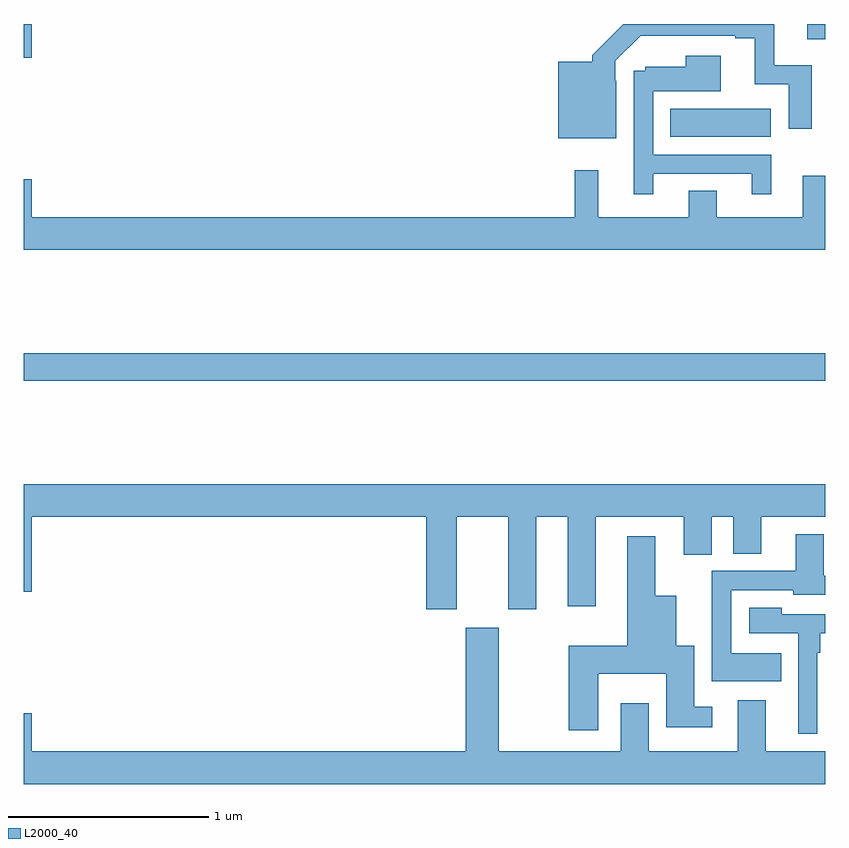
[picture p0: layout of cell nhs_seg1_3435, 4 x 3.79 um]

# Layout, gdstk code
import gdstk
lib = gdstk.Library(unit=1e-6, precision=1e-09)
def R(c, l, rs):  # rectangles x0, y0, x1, y1
    for r in rs: c.add(gdstk.rectangle(r[:2], r[2:], *l))
def P(c, l, *ps):  # polygons
    for p in ps: c.add(gdstk.Polygon(p, *l))
L2000_40 = (2000, 40)

nhs_seg1_3435 = lib.new_cell('nhs_seg1_3435')
R(nhs_seg1_3435, L2000_40, [(297,544.42,301,544.556), (300.226,545.636,300.727,545.776), (297,546.03,297.04,546.199), (300.908,546.123,301,546.199)])
P(nhs_seg1_3435, L2000_40, [(299.956,545.915),(299.952,545.915),(299.952,546.015),(300.078,546.141),(300.551,546.141),(300.551,546.129),(300.647,546.129),(300.647,545.898),(300.816,545.898),(300.816,545.676),(300.932,545.676),(300.932,545.994),(300.745,545.994),(300.745,546.199),(299.992,546.199),(299.837,546.043),(299.837,546.01),(299.666,546.01),(299.666,545.63),(299.956,545.63)],
  [(300.142,545.451),(300.632,545.451),(300.632,545.349),(300.73,545.349),(300.73,545.547),(300.141,545.547),(300.141,545.864),(300.478,545.864),(300.478,546.04),(300.302,546.04),(300.302,545.986),(300.102,545.986),(300.102,545.967),(300.045,545.967),(300.045,545.349),(300.142,545.349)],
  [(301,545.443),(300.887,545.443),(300.887,545.236),(300.457,545.236),(300.457,545.366),(300.317,545.366),(300.317,545.236),(299.867,545.236),(299.867,545.47),(299.749,545.47),(299.749,545.236),(297.04,545.236),(297.04,545.425),(297,545.425),(297,545.072),(301,545.072)],
  [(299.161,543.74),(299.417,543.74),(299.417,543.279),(299.557,543.279),(299.557,543.74),(299.714,543.74),(299.714,543.294),(299.854,543.294),(299.854,543.74),(300.293,543.74),(300.293,543.552),(300.432,543.552),(300.432,543.74),(300.539,543.74),(300.539,543.556),(300.679,543.556),(300.679,543.74),(301,543.74),(301,543.904),(297,543.904),(297,543.366),(297.04,543.366),(297.04,543.74),(299.009,543.74),(299.009,543.279),(299.161,543.279)],
  [(300.779,543.061),(300.531,543.061),(300.531,543.375),(300.84,543.375),(300.84,543.351),(301,543.351),(301,543.447),(300.991,543.447),(300.991,543.655),(300.851,543.655),(300.851,543.471),(300.434,543.471),(300.434,542.921),(300.779,542.921)],
  [(299.866,542.957),(300.206,542.957),(300.206,542.69),(300.436,542.69),(300.436,542.794),(300.346,542.794),(300.346,543.097),(300.256,543.097),(300.256,543.346),(300.151,543.346),(300.151,543.643),(300.011,543.643),(300.011,543.097),(299.719,543.097),(299.719,542.676),(299.866,542.676)],
  [(300.96,543.062),(300.973,543.062),(300.973,543.159),(301,543.159),(301,543.255),(300.782,543.255),(300.782,543.286),(300.621,543.286),(300.621,543.159),(300.864,543.159),(300.864,542.658),(300.96,542.658)],
  [(301,542.572),(300.703,542.572),(300.703,542.827),(300.563,542.827),(300.563,542.572),(300.118,542.572),(300.118,542.812),(299.978,542.812),(299.978,542.572),(299.371,542.572),(299.371,543.187),(299.207,543.187),(299.207,542.572),(297.04,542.572),(297.04,542.761),(297,542.761),(297,542.408),(301,542.408)])

lib.write_gds('nhs_seg1_3435.gds')
